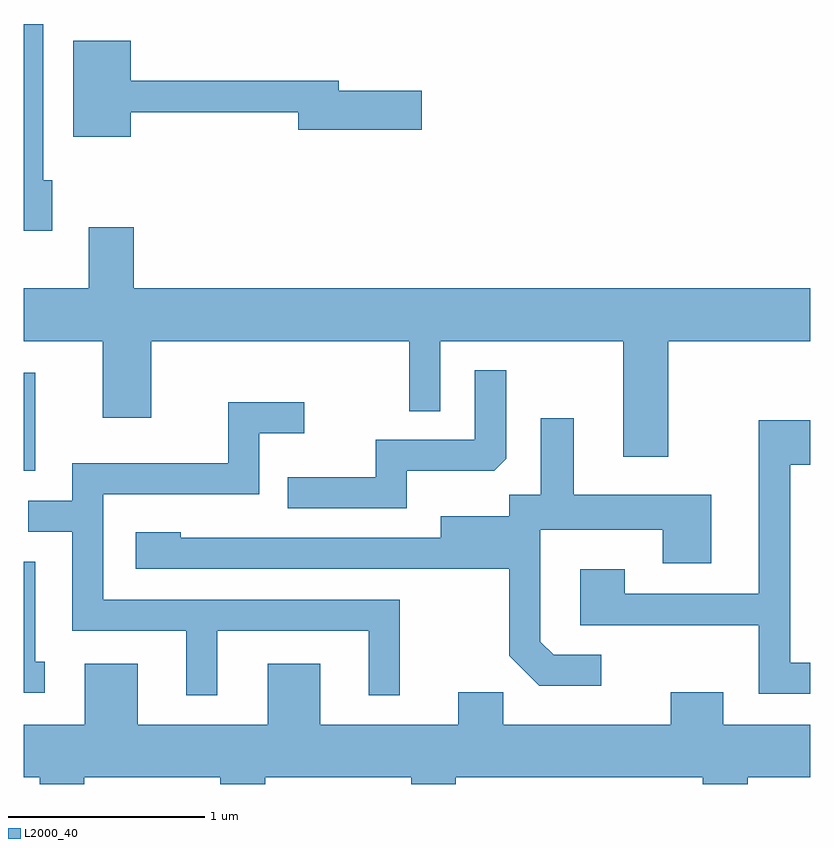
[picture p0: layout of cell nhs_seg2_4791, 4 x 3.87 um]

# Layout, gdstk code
import gdstk
lib = gdstk.Library(unit=1e-6, precision=1e-09)
def R(c, l, rs):  # rectangles x0, y0, x1, y1
    for r in rs: c.add(gdstk.rectangle(r[:2], r[2:], *l))
def P(c, l, *ps):  # polygons
    for p in ps: c.add(gdstk.Polygon(p, *l))
L2000_40 = (2000, 40)

nhs_seg2_4791 = lib.new_cell('nhs_seg2_4791')
R(nhs_seg2_4791, L2000_40, [(325.611,1085.396,325.669,1085.894)])
P(nhs_seg2_4791, L2000_40, [(325.754,1086.874),(325.709,1086.874),(325.709,1087.669),(325.611,1087.669),(325.611,1086.616),(325.754,1086.616)],
  [(326.154,1087.221),(327.006,1087.221),(327.006,1087.131),(327.634,1087.131),(327.634,1087.329),(327.214,1087.329),(327.214,1087.379),(326.154,1087.379),(326.154,1087.584),(325.861,1087.584),(325.861,1087.096),(326.154,1087.096)],
  [(328.889,1086.056),(329.611,1086.056),(329.611,1086.324),(326.169,1086.324),(326.169,1086.634),(325.941,1086.634),(325.941,1086.324),(325.611,1086.324),(325.611,1086.056),(326.011,1086.056),(326.011,1085.666),(326.259,1085.666),(326.259,1086.056),(327.571,1086.056),(327.571,1085.698),(327.729,1085.698),(327.729,1086.056),(328.661,1086.056),(328.661,1085.466),(328.889,1085.466)],
  [(327.559,1085.396),(328.004,1085.396),(328.064,1085.457),(328.064,1085.908),(327.906,1085.908),(327.906,1085.554),(327.401,1085.554),(327.401,1085.364),(326.953,1085.364),(326.953,1085.206),(327.559,1085.206)],
  [(326.594,1084.581),(327.366,1084.581),(327.366,1084.253),(327.524,1084.253),(327.524,1084.739),(326.014,1084.739),(326.014,1085.276),(326.809,1085.276),(326.809,1085.586),(327.038,1085.586),(327.038,1085.744),(326.651,1085.744),(326.651,1085.434),(325.856,1085.434),(325.856,1085.244),(325.633,1085.244),(325.633,1085.086),(325.856,1085.086),(325.856,1084.581),(326.436,1084.581),(326.436,1084.253),(326.594,1084.253)],
  [(328.548,1084.459),(328.307,1084.459),(328.239,1084.527),(328.239,1085.096),(328.861,1085.096),(328.861,1084.926),(329.109,1084.926),(329.109,1085.274),(328.409,1085.274),(328.409,1085.663),(328.241,1085.663),(328.241,1085.274),(328.081,1085.274),(328.081,1085.164),(327.731,1085.164),(327.731,1085.054),(326.409,1085.054),(326.409,1085.084),(326.181,1085.084),(326.181,1084.896),(328.081,1084.896),(328.081,1084.454),(328.234,1084.301),(328.548,1084.301)],
  [(329.611,1084.419),(329.509,1084.419),(329.509,1085.426),(329.611,1085.426),(329.611,1085.654),(329.351,1085.654),(329.351,1084.769),(328.669,1084.769),(328.669,1084.894),(328.441,1084.894),(328.441,1084.611),(329.351,1084.611),(329.351,1084.261),(329.611,1084.261)],
  [(325.718,1084.424),(325.669,1084.424),(325.669,1084.934),(325.611,1084.934),(325.611,1084.266),(325.718,1084.266)],
  [(325.919,1083.836),(326.611,1083.836),(326.611,1083.802),(326.839,1083.802),(326.839,1083.836),(327.581,1083.836),(327.581,1083.802),(327.809,1083.802),(327.809,1083.836),(329.066,1083.836),(329.066,1083.802),(329.294,1083.802),(329.294,1083.836),(329.611,1083.836),(329.611,1084.104),(329.169,1084.104),(329.169,1084.269),(328.901,1084.269),(328.901,1084.104),(328.049,1084.104),(328.049,1084.269),(327.821,1084.269),(327.821,1084.104),(327.119,1084.104),(327.119,1084.414),(326.851,1084.414),(326.851,1084.104),(326.189,1084.104),(326.189,1084.414),(325.921,1084.414),(325.921,1084.104),(325.611,1084.104),(325.611,1083.836),(325.691,1083.836),(325.691,1083.802),(325.919,1083.802)])

lib.write_gds('nhs_seg2_4791.gds')
